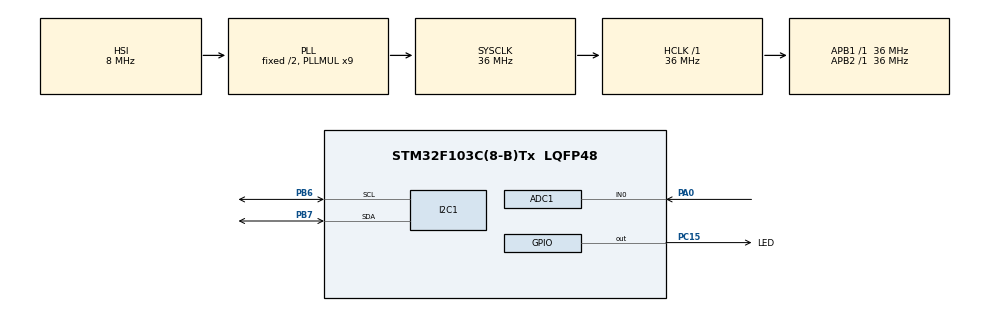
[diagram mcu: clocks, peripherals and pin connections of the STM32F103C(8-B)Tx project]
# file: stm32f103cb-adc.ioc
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ADC1.Channel-1\#ChannelRegularConversion=ADC_CHANNEL_0
ADC1.ContinuousConvMode=ENABLE
ADC1.NbrOfConversionFlag=1
ADC1.Rank-1\#ChannelRegularConversion=1
ADC1.SamplingTime-1\#ChannelRegularConversion=ADC_SAMPLETIME_1CYCLE_5
ADC1.master=1
Dma.ADC1.0.Direction=DMA_PERIPH_TO_MEMORY
Dma.ADC1.0.Instance=DMA1_Channel1
Dma.ADC1.0.MemDataAlignment=DMA_MDATAALIGN_HALFWORD
Dma.ADC1.0.MemInc=DMA_MINC_ENABLE
Dma.ADC1.0.Mode=DMA_NORMAL
Dma.ADC1.0.PeriphDataAlignment=DMA_PDATAALIGN_HALFWORD
Dma.ADC1.0.PeriphInc=DMA_PINC_DISABLE
Dma.ADC1.0.Priority=DMA_PRIORITY_LOW
Dma.Request0=ADC1
Mcu.Family=STM32F1
Mcu.Name=STM32F103C(8-B)Tx
Mcu.Package=LQFP48
NVIC.DMA1_Channel1_IRQn=true\:0\:0\:false\:false\:true\:false\:true
NVIC.PriorityGroup=NVIC_PRIORITYGROUP_4
PA0-WKUP.Signal=ADCx_IN0
PA13.Mode=Serial_Wire
PA13.Signal=SYS_JTMS-SWDIO
PA14.Mode=Serial_Wire
PA14.Signal=SYS_JTCK-SWCLK
PB6.Mode=I2C
PB6.Signal=I2C1_SCL
PB7.Mode=I2C
PB7.Signal=I2C1_SDA
PC15-OSC32_OUT.GPIO_Label=LED
PC15-OSC32_OUT.Signal=GPIO_Output
ProjectManager.HeapSize=0x200
ProjectManager.StackSize=0x400
ProjectManager.TargetToolchain=STM32CubeIDE
RCC.ADCPresc=RCC_ADCPCLK2_DIV4
RCC.AHBFreq_Value=36000000
RCC.APB1Freq_Value=36000000
RCC.APB1TimFreq_Value=36000000
RCC.APB2Freq_Value=36000000
RCC.APB2TimFreq_Value=36000000
RCC.HCLKFreq_Value=36000000
RCC.PLLMUL=RCC_PLL_MUL9
RCC.SYSCLKFreq_VALUE=36000000
RCC.SYSCLKSource=RCC_SYSCLKSOURCE_PLLCLK
RCC.USBFreq_Value=36000000
SH.ADCx_IN0.0=ADC1_IN0,IN0
STMicroelectronics.X-CUBE-ALGOBUILD.1.1.0.LibraryCcDSPOoLibraryJjDSPOoLibrary=true
VP_STMicroelectronics.X-CUBE-ALGOBUILD_VS_DSPOoLibraryJjLibrary_1.1.0.Mode=DSPOoLibraryJjLibrary
board=custom

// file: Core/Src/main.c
/* USER CODE BEGIN Header */
/**
  ******************************************************************************
  * @file           : main.c
  * @brief          : Main program body
  ******************************************************************************
  * @attention
  *
  * <h2><center>&copy; Copyright (c) 2020 STMicroelectronics.
  * All rights reserved.</center></h2>
  *
  * This software component is licensed by ST under BSD 3-Clause license,
  * the "License"; You may not use this file except in compliance with the
  * License. You may obtain a copy of the License at:
  *                        opensource.org/licenses/BSD-3-Clause
  *
  ******************************************************************************
  */
/* USER CODE END Header */
#include "main.h"

/* USER CODE BEGIN PD */
#define FFT_SIZE 256
#define ADC_SIZE 256
/* USER CODE END PD */

ADC_HandleTypeDef hadc1;
DMA_HandleTypeDef hdma_adc1;

I2C_HandleTypeDef hi2c1;

/* USER CODE BEGIN PV */

#if (SIMULATED_DATA)
/*
 * signal frequency = 50kHz + 400kHz
 * sampling frequency = 1MHz
 * number of samples = 256
 */
uint16_t signal1[256] = {
		3072,3623,1902,3623,1762,2048,2333,472,2193,472,1024,1676,245,2419,1129,2047,2966,1676,3850,2419,3071,3623,1902,3623,1762,2047,2333,472,2193,472,1023,1676,245,2419,1129,2047,2966,1676,3850,2419,3071,3623,1902,3623,1762,2047,2333,472,2193,472,1023,1676,245,2419,1129,2047,2966,1676,3850,2419,3071,3623,1902,3623,1762,2047,2333,472,2193,472,1023,1676,245,2419,1129,2047,2966,1676,3850,2419,3071,3623,1902,3623,1762,2047,2333,472,2193,472,1023,1676,245,2419,1129,2047,2966,1676,3850,2419,3071,3623,1902,3623,1762,2047,2333,472,2193,472,1023,1676,245,2419,1129,2047,2966,1676,3850,2419,3071,3623,1902,3623,1762,2047,2333,472,2193,472,1023,1676,245,2419,1129,2047,2966,1676,3850,2419,3071,3623,1902,3623,1762,2047,2333,472,2193,472,1023,1676,245,2419,1129,2047,2966,1676,3850,2419,3071,3623,1902,3623,1762,2047,2333,472,2193,472,1023,1676,245,2419,1129,2047,2966,1676,3850,2419,3071,3623,1902,3623,1762,2047,2333,472,2193,472,1023,1676,245,2419,1129,2047,2966,1676,3850,2419,3071,3623,1902,3623,1762,2047,2333,472,2193,472,1023,1676,245,2419,1129,2047,2966,1676,3850,2419,3071,3623,1902,3623,1762,2047,2333,472,2193,472,1023,1676,245,2419,1129,2047,2966,1676,3850,2419,3071,3623,1902,3623,1762,2047,2333,472,2193,472,1023,1676,245,2419,1129,2047
};

/*
 * signal frequency = 200kHz + 250kHz
 * sampling frequency = 1MHz
 * number of samples = 256
 */
uint16_t signal2[256] = {
		3072,3022,1626,1446,2098,2048,1998,2650,2470,1074,1024,3022,3674,1446,50,2048,4046,2650,422,1074,3072,3022,1626,1446,2098,2048,1998,2649,2470,1074,1024,3022,3673,1446,50,2048,4045,2650,422,1074,3072,3022,1626,1446,2098,2048,1997,2650,2470,1074,1024,3022,3674,1446,50,2048,4046,2650,422,1074,3072,3021,1626,1446,2098,2048,1998,2650,2471,1074,1024,3022,3673,1446,50,2048,4046,2650,423,1074,3072,3022,1626,1446,2098,2048,1997,2650,2470,1075,1024,3022,3674,1446,50,2048,4046,2649,422,1074,3072,3022,1625,1446,2098,2048,1998,2650,2471,1074,1024,3022,3674,1446,51,2048,4046,2650,422,1074,3072,3021,1626,1447,2098,2048,1998,2649,2470,1074,1024,3022,3674,1446,50,2048,4046,2650,422,1074,3072,3022,1626,1446,2098,2048,1998,2650,2470,1074,1024,3022,3674,1446,50,2048,4045,2649,422,1074,3072,3022,1625,1446,2098,2048,1998,2649,2470,1074,1024,3021,3674,1446,50,2048,4046,2650,422,1074,3072,3022,1626,1447,2098,2048,1998,2650,2470,1074,1024,3022,3673,1446,50,2048,4046,2650,422,1074,3072,3022,1626,1446,2098,2048,1998,2650,2470,1074,1024,3022,3674,1446,50,2048,4045,2650,422,1074,3072,3022,1626,1446,2098,2048,1998,2650,2470,1075,1024,3022,3674,1446,50,2048,4046,2650,422,1074,3072,3022,1626,1446,2098,2048,1998,2650,2470,1074,1024,3022,3673,1446,51,2048
};
#endif

arm_rfft_fast_instance_f32 S;
float32_t pBuff[FFT_SIZE*2];
float32_t pDst[FFT_SIZE/2];
float32_t pSrc[FFT_SIZE];

extern uint8_t SSD1306_Buffer[SSD1306_WIDTH * SSD1306_HEIGHT / 8];

uint16_t adcRawData[ADC_SIZE];
char adcReadyFlag;
/* USER CODE END PV */

void SystemClock_Config(void);
static void MX_GPIO_Init(void);
static void MX_DMA_Init(void);
static void MX_ADC1_Init(void);
static void MX_I2C1_Init(void);

/* USER CODE BEGIN 0 */
void plotData(void)
{
	uint32_t pScaled,pMag;
	SSD1306_Fill(SSD1306_COLOR_BLACK);

	for (int i =0;i<128;i++)
	{
		pScaled=(uint32_t)pDst[i];// >> 1  ;
		pMag=(pScaled>64)?10:(64-pScaled);
		SSD1306_DrawLine(i,64,i,pMag,SSD1306_COLOR_WHITE);
	}
    SSD1306_UpdateScreen();
}
/* USER CODE END 0 */

int main(void)
{
  /* USER CODE BEGIN 1 */
//	arm_status status;

  /* USER CODE END 1 */

  /* MCU Configuration--------------------------------------------------------*/

  /* Reset of all peripherals, Initializes the Flash interface and the Systick. */
  HAL_Init();

  /* Configure the system clock */
  SystemClock_Config();

  /* Initialize all configured peripherals */
  MX_GPIO_Init();
  MX_DMA_Init();
  MX_ADC1_Init();
  MX_I2C1_Init();
  /* USER CODE BEGIN 2 */
  SSD1306_Init(); // initialize the SSD1306 display

  while ( arm_rfft_fast_init_f32(&S,FFT_SIZE) != ARM_MATH_SUCCESS );

  /* USER CODE END 2 */

  /* Infinite loop */
  /* USER CODE BEGIN WHILE */

  HAL_ADC_Start_DMA(&hadc1, (uint32_t*)adcRawData, ADC_SIZE);
  adcReadyFlag=0;

#if (SIMULATED_DATA)
  int k=0;
#endif

  while (1)
  {
    /* USER CODE END WHILE */

    /* USER CODE BEGIN 3 */
	  HAL_Delay(150);
	  if (adcReadyFlag==1)
	  {
		  HAL_GPIO_WritePin(LED_GPIO_Port, LED_Pin, GPIO_PIN_RESET);

#if (SIMULATED_DATA)
		  if (k==0)
		  {
			  for (int i=0; i<FFT_SIZE;i++)
			  		  {
			  			  pSrc[i]=(float32_t) signal2[i];
			  			  pSrc[i]=pSrc[i]*0.000805f;
			  		  }
			  k=1;
		  }
		  else
		  {
			  for (int i=0; i<FFT_SIZE;i++)
			  		  {
			  			  pSrc[i]=(float32_t) signal1[i];
			  			  pSrc[i]=pSrc[i]*0.000805f;
			  		  }
			  k=0;
		  }
#else
		  for (int i=0; i<FFT_SIZE;i++)
		  {
			  pSrc[i]=(float32_t) adcRawData[i];
			  pSrc[i]=pSrc[i]*0.000805f;
		  }
#endif

		  /* do FFT */
		  arm_rfft_fast_f32(&S,pSrc, pBuff,0);
		  arm_cmplx_mag_f32(pBuff,pDst,FFT_SIZE);

		  plotData();

		  adcReadyFlag=0;

		  HAL_GPIO_WritePin(LED_GPIO_Port, LED_Pin, GPIO_PIN_SET);
		  HAL_ADC_Start_DMA(&hadc1, (uint32_t*)adcRawData, ADC_SIZE);
	  }
  }

  /* USER CODE END 3 */
}

void SystemClock_Config(void)
{
  RCC_OscInitTypeDef RCC_OscInitStruct = {0};
  RCC_ClkInitTypeDef RCC_ClkInitStruct = {0};
  RCC_PeriphCLKInitTypeDef PeriphClkInit = {0};

  /** Initializes the RCC Oscillators according to the specified parameters
  * in the RCC_OscInitTypeDef structure.
  */
  RCC_OscInitStruct.OscillatorType = RCC_OSCILLATORTYPE_HSI;
  RCC_OscInitStruct.HSIState = RCC_HSI_ON;
  RCC_OscInitStruct.HSICalibrationValue = RCC_HSICALIBRATION_DEFAULT;
  RCC_OscInitStruct.PLL.PLLState = RCC_PLL_ON;
  RCC_OscInitStruct.PLL.PLLSource = RCC_PLLSOURCE_HSI_DIV2;
  RCC_OscInitStruct.PLL.PLLMUL = RCC_PLL_MUL9;
  if (HAL_RCC_OscConfig(&RCC_OscInitStruct) != HAL_OK)
  {
    Error_Handler();
  }
  /** Initializes the CPU, AHB and APB buses clocks
  */
  RCC_ClkInitStruct.ClockType = RCC_CLOCKTYPE_HCLK|RCC_CLOCKTYPE_SYSCLK
                              |RCC_CLOCKTYPE_PCLK1|RCC_CLOCKTYPE_PCLK2;
  RCC_ClkInitStruct.SYSCLKSource = RCC_SYSCLKSOURCE_PLLCLK;
  RCC_ClkInitStruct.AHBCLKDivider = RCC_SYSCLK_DIV1;
  RCC_ClkInitStruct.APB1CLKDivider = RCC_HCLK_DIV1;
  RCC_ClkInitStruct.APB2CLKDivider = RCC_HCLK_DIV1;

  if (HAL_RCC_ClockConfig(&RCC_ClkInitStruct, FLASH_LATENCY_1) != HAL_OK)
  {
    Error_Handler();
  }
  PeriphClkInit.PeriphClockSelection = RCC_PERIPHCLK_ADC;
  PeriphClkInit.AdcClockSelection = RCC_ADCPCLK2_DIV4;
  if (HAL_RCCEx_PeriphCLKConfig(&PeriphClkInit) != HAL_OK)
  {
    Error_Handler();
  }
}

static void MX_ADC1_Init(void)
{

  ADC_ChannelConfTypeDef sConfig = {0};

  /** Common config
  */
  hadc1.Instance = ADC1;
  hadc1.Init.ScanConvMode = ADC_SCAN_DISABLE;
  hadc1.Init.ContinuousConvMode = ENABLE;
  hadc1.Init.DiscontinuousConvMode = DISABLE;
  hadc1.Init.ExternalTrigConv = ADC_SOFTWARE_START;
  hadc1.Init.DataAlign = ADC_DATAALIGN_RIGHT;
  hadc1.Init.NbrOfConversion = 1;
  if (HAL_ADC_Init(&hadc1) != HAL_OK)
  {
    Error_Handler();
  }
  /** Configure Regular Channel
  */
  sConfig.Channel = ADC_CHANNEL_0;
  sConfig.Rank = ADC_REGULAR_RANK_1;
  sConfig.SamplingTime = ADC_SAMPLETIME_1CYCLE_5;
  if (HAL_ADC_ConfigChannel(&hadc1, &sConfig) != HAL_OK)
  {
    Error_Handler();
  }

}

static void MX_I2C1_Init(void)
{

  hi2c1.Instance = I2C1;
  hi2c1.Init.ClockSpeed = 100000;
  hi2c1.Init.DutyCycle = I2C_DUTYCYCLE_2;
  hi2c1.Init.OwnAddress1 = 0;
  hi2c1.Init.AddressingMode = I2C_ADDRESSINGMODE_7BIT;
  hi2c1.Init.DualAddressMode = I2C_DUALADDRESS_DISABLE;
  hi2c1.Init.OwnAddress2 = 0;
  hi2c1.Init.GeneralCallMode = I2C_GENERALCALL_DISABLE;
  hi2c1.Init.NoStretchMode = I2C_NOSTRETCH_DISABLE;
  if (HAL_I2C_Init(&hi2c1) != HAL_OK)
  {
    Error_Handler();
  }

}

static void MX_DMA_Init(void)
{

  /* DMA controller clock enable */
  __HAL_RCC_DMA1_CLK_ENABLE();

  /* DMA interrupt init */
  /* DMA1_Channel1_IRQn interrupt configuration */
  HAL_NVIC_SetPriority(DMA1_Channel1_IRQn, 0, 0);
  HAL_NVIC_EnableIRQ(DMA1_Channel1_IRQn);

}

static void MX_GPIO_Init(void)
{
  GPIO_InitTypeDef GPIO_InitStruct = {0};

  /* GPIO Ports Clock Enable */
  __HAL_RCC_GPIOC_CLK_ENABLE();
  __HAL_RCC_GPIOA_CLK_ENABLE();
  __HAL_RCC_GPIOB_CLK_ENABLE();

  /*Configure GPIO pin Output Level */
  HAL_GPIO_WritePin(LED_GPIO_Port, LED_Pin, GPIO_PIN_RESET);

  /*Configure GPIO pin : LED_Pin */
  GPIO_InitStruct.Pin = LED_Pin;
  GPIO_InitStruct.Mode = GPIO_MODE_OUTPUT_PP;
  GPIO_InitStruct.Pull = GPIO_NOPULL;
  GPIO_InitStruct.Speed = GPIO_SPEED_FREQ_LOW;
  HAL_GPIO_Init(LED_GPIO_Port, &GPIO_InitStruct);

}

/* USER CODE BEGIN 4 */
void HAL_ADC_ConvCpltCallback(ADC_HandleTypeDef* hadc)
{

//	HAL_GPIO_TogglePin(LED_GPIO_Port, LED_Pin);
	__NOP();
	adcReadyFlag=1;
  /* Prevent unused argument(s) compilation warning */
//  UNUSED(hadc);
  /* NOTE : This function should not be modified. When the callback is needed,
            function HAL_ADC_ConvCpltCallback must be implemented in the user file.
   */
}
/* USER CODE END 4 */

void Error_Handler(void)
{
}

/************************ (C) COPYRIGHT STMicroelectronics *****END OF FILE****/
